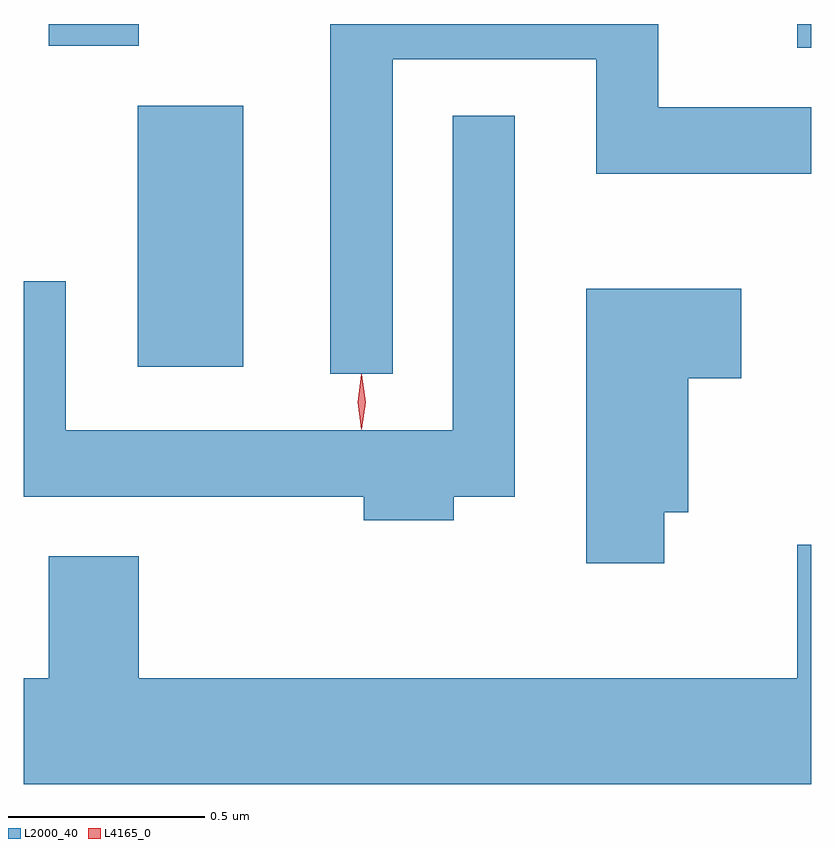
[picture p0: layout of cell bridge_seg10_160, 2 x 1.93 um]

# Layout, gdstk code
import gdstk
lib = gdstk.Library(unit=1e-6, precision=1e-09)
def R(c, l, rs):  # rectangles x0, y0, x1, y1
    for r in rs: c.add(gdstk.rectangle(r[:2], r[2:], *l))
def P(c, l, *ps):  # polygons
    for p in ps: c.add(gdstk.Polygon(p, *l))
L2000_40 = (2000, 40)
L4165_0 = (4165, 0)

bridge_seg10_160 = lib.new_cell('bridge_seg10_160')
R(bridge_seg10_160, L2000_40, [(1656.786,2099.436,1657.054,2100.099), (1658.461,2100.246,1658.497,2100.306), (1656.561,2100.251,1656.789,2100.306)])
P(bridge_seg10_160, L2000_40, [(1657.434,2100.216),(1657.951,2100.216),(1657.951,2099.926),(1658.497,2099.926),(1658.497,2100.094),(1658.109,2100.094),(1658.109,2100.306),(1657.276,2100.306),(1657.276,2099.418),(1657.434,2099.418)],
  [(1657.589,2099.106),(1657.744,2099.106),(1657.744,2100.073),(1657.586,2100.073),(1657.586,2099.274),(1656.604,2099.274),(1656.604,2099.653),(1656.497,2099.653),(1656.497,2099.106),(1657.361,2099.106),(1657.361,2099.046),(1657.589,2099.046)],
  [(1658.124,2099.066),(1658.184,2099.066),(1658.184,2099.406),(1658.319,2099.406),(1658.319,2099.634),(1657.926,2099.634),(1657.926,2098.936),(1658.124,2098.936)],
  [(1658.497,2098.984),(1658.461,2098.984),(1658.461,2098.644),(1656.789,2098.644),(1656.789,2098.954),(1656.561,2098.954),(1656.561,2098.644),(1656.497,2098.644),(1656.497,2098.376),(1658.497,2098.376)])
P(bridge_seg10_160, L4165_0, [(1657.355,2099.279),(1657.354,2099.28),(1657.345,2099.346),(1657.354,2099.412),(1657.355,2099.413),(1657.355,2099.412),(1657.365,2099.346),(1657.355,2099.28)],
  [(1657.354,2099.277),(1657.345,2099.346),(1657.354,2099.416),(1657.355,2099.416),(1657.356,2099.416),(1657.365,2099.346),(1657.356,2099.277),(1657.355,2099.277)])

lib.write_gds('bridge_seg10_160.gds')
